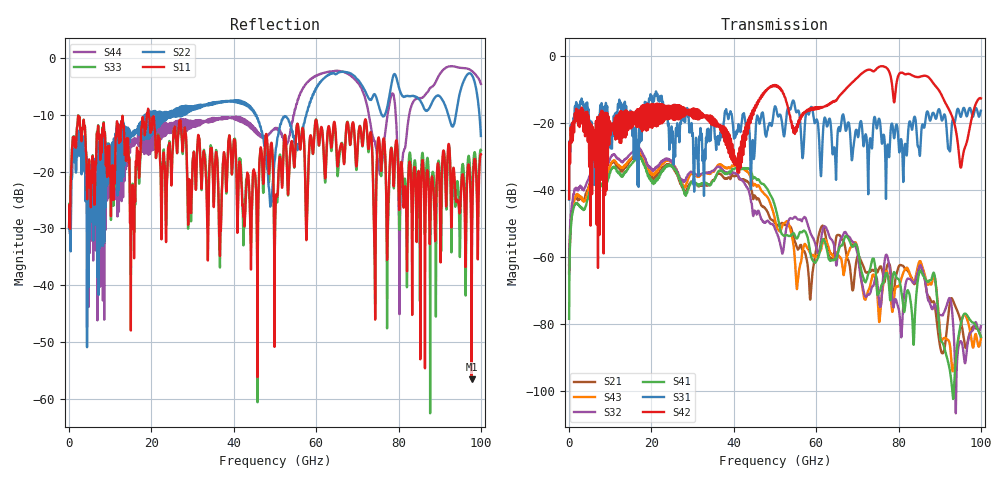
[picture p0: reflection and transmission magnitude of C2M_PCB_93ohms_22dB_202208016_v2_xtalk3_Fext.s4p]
! Info: Touchstone file created by Circ.  Input file=Intel_C2M_200G_8p5in_202208016_staggered.circ
# Hz S RI R 50
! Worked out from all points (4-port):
!   10000 points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, 10 MHz to 100 GHz, reference 50 ohm
!   strongest paths, dB at 10 MHz, 25.01 GHz, 50.01 GHz, 75.01 GHz, 100 GHz:
!     S42: -42.6, -16.9, -8.6, -3.4, -12.5
!     S31: -42.8, -24.6, -14.9, -19.8, -16.2
!     S41: -78.4, -32.9, -44.8, -70.9, -83.7
!     S32: -64.9, -31.4, -51.6, -69.4, -80.5
!     S43: -64.5, -31.6, -48.8, -74.1, -84.3
!     S21: -62.4, -33.0, -49.8, -64.1, -83.9
!   lowest |S11| = -56.6 dB at 97.76 GHz (marker M1), VSWR 1.00, Z = 50.1 - j0.0534 ohm
!   |S11| at or under -10 dB: start of sweep to 18.86 GHz; 19.34 GHz to end of sweep
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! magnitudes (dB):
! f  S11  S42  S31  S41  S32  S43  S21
! 10 MHz  -29.7  -42.6  -42.8  -78.4  -64.9  -64.5  -62.4
! 1.41 GHz  -15.7  -17.0  -15.0  -44.4  -39.6  -42.1  -42.5
! 16.91 GHz  -19.1  -15.9  -32.8  -29.8  -27.3  -28.5  -28.8
! 66.29 GHz  -15.2  -11.0  -18.0  -56.5  -53.9  -61.9  -54.8
! 80.36 GHz  -21.8  -5.0  -26.9  -67.8  -78.5  -67.9  -62.3
! 97.76 GHz  -56.6  -18.6  -17.0  -79.3  -82.1  -84.9  -81.1
! 100 GHz  -16.9  -12.5  -16.2  -83.7  -80.5  -84.3  -83.9
